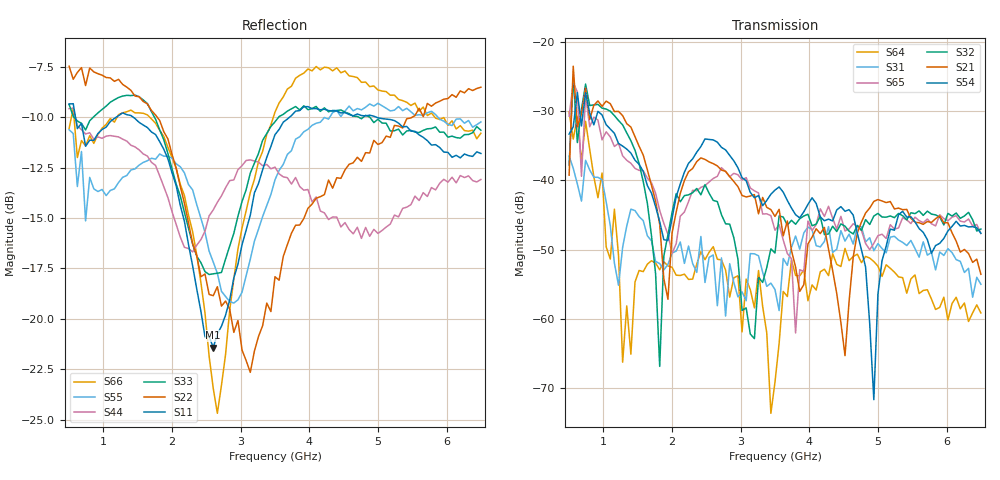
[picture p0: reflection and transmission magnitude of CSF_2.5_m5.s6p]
!Keysight Technologies,M9804A,MY58100912,A.14.10.03
!Date: Thursday, April 27, 2023 10:28:33
!Correction: S11(C  6-Port  )
!S12(C  6-Port  )
!S13(C  6-Port  )
!S14(C  6-Port  )
!S15(C  6-Port  )
!S16(C  6-Port  )
!S21(C  6-Port  )
!S22(C  6-Port  )
!S23(C  6-Port  )
!S24(C  6-Port  )
!S25(C  6-Port  )
!S26(C  6-Port  )
!S31(C  6-Port  )
!S32(C  6-Port  )
!S33(C  6-Port  )
!S34(C  6-Port  )
!S35(C  6-Port  )
!S36(C  6-Port  )
!S41(C  6-Port  )
!S42(C  6-Port  )
!S43(C  6-Port  )
!S44(C  6-Port  )
!S45(C  6-Port  )
!S46(C  6-Port  )
!S51(C  6-Port  )
!S52(C  6-Port  )
!S53(C  6-Port  )
!S54(C  6-Port  )
!S55(C  6-Port  )
!S56(C  6-Port  )
!S61(C  6-Port  )
!S62(C  6-Port  )
!S63(C  6-Port  )
!S64(C  6-Port  )
!S65(C  6-Port  )
!S66(C  6-Port  )
!S6P File: Measurement: :
# Hz S  RI  R 50
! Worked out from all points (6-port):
!   101 points, 500 MHz to 6.5 GHz, reference 50 ohm
!   strongest paths, dB at 500 MHz, 2 GHz, 3.5 GHz, 5 GHz, 6.5 GHz:
!     S54: -33.3, -45.5, -41.4, -56.4, -47.6
!     S21: -39.2, -47.6, -45.2, -42.8, -53.6
!     S32: -37.8, -44.7, -50.5, -44.8, -47.0
!     S65: -30.7, -50.5, -47.2, -48.0, -47.7
!     S31: -36.5, -50.5, -55.8, -49.1, -55.0
!     S64: -30.1, -52.5, -69.1, -52.4, -59.2
!   lowest |S11| = -21.4 dB at 2.6 GHz (marker M1), VSWR 1.19, Z = 42.5 + j2.16 ohm
!   |S11| at or under -10 dB: 592.2 MHz to 1.189 GHz (596.7 MHz wide, 67 % of centre); 1.431 GHz to 3.714 GHz (2.282 GHz wide, 88.7 % of centre); 4.973 GHz to end of sweep
